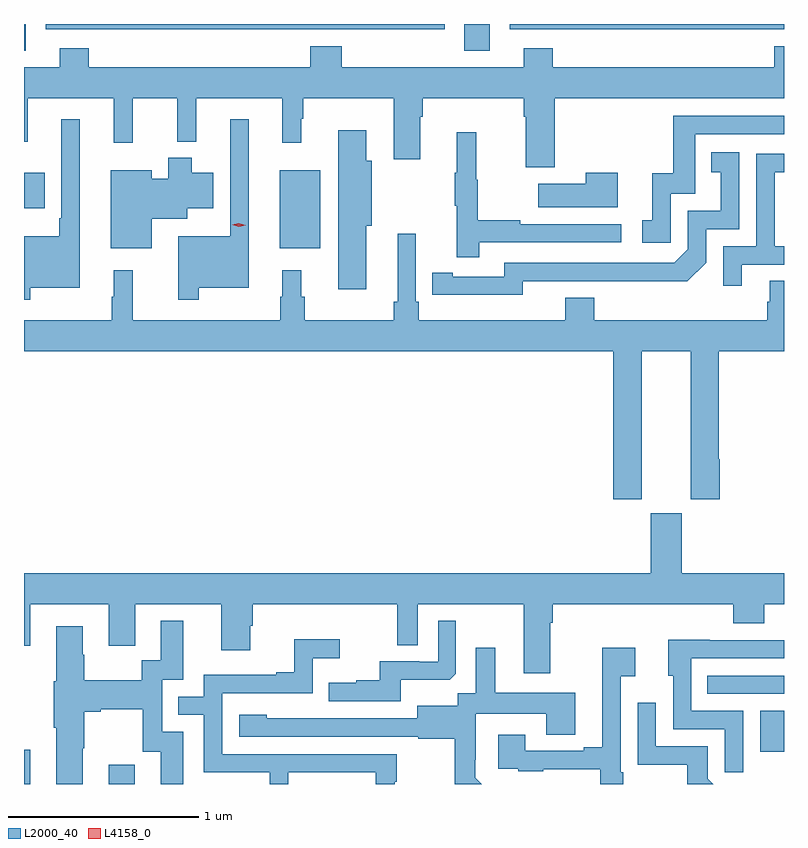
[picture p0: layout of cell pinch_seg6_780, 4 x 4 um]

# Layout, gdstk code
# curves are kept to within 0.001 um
import gdstk
lib = gdstk.Library(unit=1e-6, precision=1e-09)
def R(c, l, rs):  # rectangles x0, y0, x1, y1
    for r in rs: c.add(gdstk.rectangle(r[:2], r[2:], *l))
def P(c, l, *ps):  # polygons
    for p in ps: c.add(gdstk.Polygon(p, *l))
L2000_40 = (2000, 40)
L4158_0 = (4158, 0)

pinch_seg6_780 = lib.new_cell('pinch_seg6_780')
R(pinch_seg6_780, L2000_40, [(191.014,991.679,191.047,991.858), (191.459,991.679,191.596,991.78), (194.888,991.85,195.014,992.065), (194.611,992.154,195.014,992.25), (192.359,994.499,192.574,994.909), (191.014,994.709,191.122,994.897), (191.014,995.537,191.023,995.679), (193.331,995.537,193.465,995.679), (191.129,995.651,193.228,995.679), (193.571,995.651,195.014,995.679)])
P(pinch_seg6_780, L2000_40, [(193.808,995.288),(195.014,995.288),(195.014,995.563),(194.963,995.563),(194.963,995.452),(193.796,995.452),(193.796,995.551),(193.643,995.551),(193.643,995.452),(192.686,995.452),(192.686,995.563),(192.521,995.563),(192.521,995.452),(191.354,995.452),(191.354,995.551),(191.201,995.551),(191.201,995.452),(191.014,995.452),(191.014,995.06),(191.033,995.06),(191.033,995.288),(191.486,995.288),(191.486,995.055),(191.586,995.055),(191.586,995.288),(191.821,995.288),(191.821,995.06),(191.921,995.06),(191.921,995.288),(192.374,995.288),(192.374,995.055),(192.473,995.055),(192.473,995.18),(192.484,995.18),(192.484,995.288),(192.959,995.288),(192.959,994.968),(193.099,994.968),(193.099,995.192),(193.112,995.192),(193.112,995.288),(193.643,995.288),(193.643,995.192),(193.655,995.192),(193.655,994.926),(193.808,994.926)],
  [(194.418,994.785),(194.547,994.785),(194.547,995.1),(195.014,995.1),(195.014,995.196),(194.431,995.196),(194.431,994.894),(194.321,994.894),(194.321,994.647),(194.268,994.647),(194.268,994.527),(194.418,994.527)],
  [(191.047,994.292),(191.308,994.292),(191.308,995.179),(191.211,995.179),(191.211,994.657),(191.199,994.657),(191.199,994.561),(191.014,994.561),(191.014,994.227),(191.047,994.227)],
  [(191.935,994.292),(192.196,994.292),(192.196,995.179),(192.099,995.179),(192.099,994.561),(191.826,994.561),(191.826,994.227),(191.935,994.227)],
  [(192.814,994.616),(192.844,994.616),(192.844,994.96),(192.814,994.96),(192.814,995.119),(192.668,995.119),(192.668,994.284),(192.814,994.284)],
  [(193.409,994.53),(194.158,994.53),(194.158,994.626),(193.625,994.626),(193.625,994.646),(193.402,994.646),(193.402,994.86),(193.394,994.86),(193.394,995.11),(193.292,995.11),(193.292,994.897),(193.281,994.897),(193.281,994.723),(193.292,994.723),(193.292,994.452),(193.409,994.452)],
  [(193.638,994.326),(194.506,994.325),(194.604,994.422),(194.604,994.599),(194.778,994.599),(194.778,995.005),(194.632,995.005),(194.632,994.899),(194.681,994.899),(194.681,994.695),(194.508,994.695),(194.508,994.494),(194.436,994.422),(193.542,994.422),(193.542,994.35),(193.27,994.35),(193.27,994.37),(193.162,994.37),(193.162,994.254),(193.638,994.253)],
  [(194.791,994.413),(195.014,994.413),(195.014,994.509),(194.964,994.509),(194.964,994.898),(195.014,994.898),(195.014,994.995),(194.868,994.995),(194.868,994.509),(194.694,994.509),(194.694,994.302),(194.791,994.302)],
  [(191.686,994.655),(191.872,994.655),(191.872,994.709),(192.01,994.709),(192.01,994.897),(191.896,994.897),(191.896,994.975),(191.774,994.975),(191.774,994.864),(191.686,994.864),(191.686,994.909),(191.471,994.909),(191.471,994.499),(191.686,994.499)],
  [(194.14,994.897),(193.97,994.897),(193.97,994.837),(193.721,994.837),(193.721,994.715),(194.14,994.715)],
  [(194.266,993.956),(194.522,993.956),(194.522,993.177),(194.675,993.177),(194.675,993.389),(194.67,993.389),(194.67,993.956),(195.014,993.956),(195.014,994.328),(194.939,994.328),(194.939,994.218),(194.927,994.218),(194.927,994.12),(194.015,994.12),(194.015,994.237),(193.862,994.237),(193.862,994.12),(193.091,994.12),(193.091,994.216),(193.077,994.216),(193.077,994.576),(192.98,994.576),(192.98,994.216),(192.961,994.216),(192.961,994.12),(192.491,994.12),(192.491,994.244),(192.473,994.244),(192.473,994.384),(192.374,994.384),(192.374,994.244),(192.363,994.244),(192.363,994.12),(191.586,994.12),(191.586,994.384),(191.486,994.384),(191.486,994.244),(191.475,994.244),(191.475,994.12),(191.014,994.12),(191.014,993.956),(194.114,993.956),(194.114,993.177),(194.266,993.177)],
  [(194.476,993.105),(194.312,993.105),(194.312,992.788),(191.014,992.788),(191.014,992.406),(191.047,992.406),(191.047,992.624),(191.459,992.624),(191.459,992.406),(191.599,992.406),(191.599,992.624),(192.053,992.624),(192.053,992.382),(192.205,992.382),(192.205,992.511),(192.218,992.511),(192.218,992.624),(192.978,992.624),(192.978,992.41),(193.086,992.41),(193.086,992.624),(193.643,992.624),(193.643,992.262),(193.783,992.262),(193.783,992.528),(193.796,992.528),(193.796,992.624),(194.747,992.624),(194.747,992.525),(194.911,992.525),(194.911,992.624),(195.014,992.624),(195.014,992.788),(194.476,992.788)],
  [(192.997,992.228),(193.255,992.228),(193.287,992.259),(193.287,992.539),(193.194,992.539),(193.194,992.322),(193.094,992.322),(193.094,992.325),(192.887,992.325),(192.887,992.224),(192.763,992.224),(192.763,992.212),(192.619,992.212),(192.619,992.115),(192.997,992.115)],
  [(191.323,991.867),(191.331,991.867),(191.331,992.06),(191.419,992.06),(191.419,992.072),(191.639,992.072),(191.639,991.848),(191.735,991.848),(191.735,991.679),(191.851,991.679),(191.851,991.953),(191.742,991.953),(191.742,992.229),(191.851,992.229),(191.851,992.539),(191.735,992.539),(191.735,992.33),(191.634,992.33),(191.634,992.224),(191.331,992.224),(191.331,992.358),(191.323,992.358),(191.323,992.509),(191.183,992.509),(191.183,992.22),(191.171,992.22),(191.171,991.976),(191.183,991.976),(191.183,991.679),(191.323,991.679)],
  [(192.406,991.74),(192.866,991.74),(192.866,991.679),(192.964,991.679),(192.964,991.692),(192.976,991.692),(192.976,991.836),(192.057,991.836),(192.057,992.157),(192.534,992.157),(192.534,992.342),(192.676,992.342),(192.676,992.441),(192.436,992.441),(192.436,992.266),(192.341,992.266),(192.341,992.253),(191.961,992.253),(191.961,992.139),(191.827,992.139),(191.827,992.043),(191.961,992.043),(191.961,991.74),(192.308,991.74),(192.308,991.679),(192.406,991.679)],
  [(194.799,992.064),(194.526,992.064),(194.526,992.34),(195.014,992.34),(195.014,992.436),(194.623,992.436),(194.623,992.438),(194.405,992.438),(194.405,992.25),(194.43,992.25),(194.43,991.968),(194.703,991.968),(194.703,991.74),(194.799,991.74)],
  [(193.39,991.712),(193.39,991.807),(193.392,991.807),(193.392,992.048),(193.763,992.048),(193.763,991.939),(193.915,991.939),(193.915,992.158),(193.495,992.158),(193.495,992.395),(193.391,992.395),(193.391,992.156),(193.296,992.156),(193.296,992.092),(193.085,992.092),(193.085,992.025),(192.291,992.026),(192.291,992.044),(192.147,992.044),(192.147,991.929),(193.089,991.929),(193.089,991.917),(193.281,991.917),(193.281,991.679),(193.423,991.679)],
  [(194.167,991.741),(194.154,991.741),(194.154,992.246),(194.23,992.246),(194.23,992.395),(194.057,992.395),(194.057,991.873),(193.961,991.873),(193.961,991.854),(193.651,991.854),(193.651,991.939),(193.511,991.939),(193.511,991.758),(193.615,991.758),(193.615,991.746),(193.747,991.746),(193.747,991.757),(194.046,991.757),(194.046,991.679),(194.167,991.679)],
  [(194.613,991.707),(194.613,991.878),(194.34,991.878),(194.34,992.107),(194.244,992.107),(194.244,991.781),(194.506,991.781),(194.506,991.679),(194.641,991.679)])
P(pinch_seg6_780, L4158_0, [(192.145,994.611),(192.109,994.623),(192.109,994.623),(192.109,994.623),(192.145,994.631),(192.181,994.62),(192.181,994.62),(192.181,994.619)])

lib.write_gds('pinch_seg6_780.gds')
